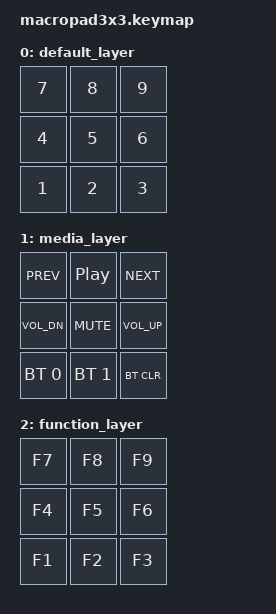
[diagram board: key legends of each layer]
/*
 * Copyright (c) 2024
 * SPDX-License-Identifier: MIT
 */

#include <behaviors.dtsi>
#include <dt-bindings/zmk/keys.h>
#include <dt-bindings/zmk/bt.h>

/ {
    keymap {
        compatible = "zmk,keymap";

        default_layer {
            // -----------------------
            // |  7  |  8  |  9  |
            // |  4  |  5  |  6  |
            // |  1  |  2  |  3  |
            // -----------------------
            bindings = <
                &kp N7  &kp N8  &kp N9
                &kp N4  &kp N5  &kp N6
                &kp N1  &kp N2  &kp N3
            >;
        };

        media_layer {
            // ---------------------------------
            // | PREV  | PLAY  | NEXT  |
            // | VOL-  | MUTE  | VOL+  |
            // | BT1   | BT2   | BTCLR |
            // ---------------------------------
            bindings = <
                &kp C_PREV    &kp C_PP      &kp C_NEXT
                &kp C_VOL_DN  &kp C_MUTE    &kp C_VOL_UP
                &bt BT_SEL 0  &bt BT_SEL 1  &bt BT_CLR
            >;
        };

        function_layer {
            // -----------------------
            // | F7  | F8  | F9  |
            // | F4  | F5  | F6  |
            // | F1  | F2  | F3  |
            // -----------------------
            bindings = <
                &kp F7  &kp F8  &kp F9
                &kp F4  &kp F5  &kp F6
                &kp F1  &kp F2  &kp F3
            >;
        };
    };
};
